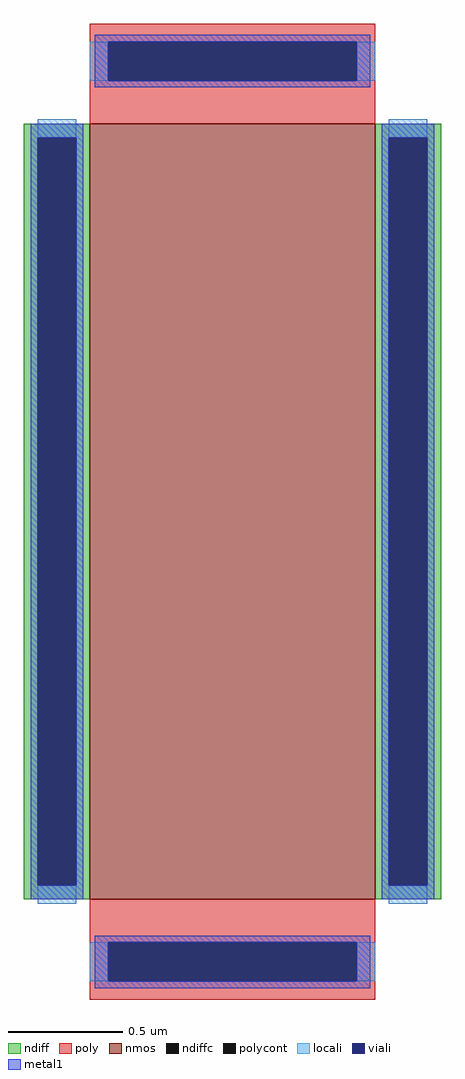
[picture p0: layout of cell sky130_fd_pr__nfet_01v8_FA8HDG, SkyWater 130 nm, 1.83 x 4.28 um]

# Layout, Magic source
magic
tech sky130A
magscale 1 2
<< nmos >>
rect -125 -340 125 340
<< ndiff >>
rect -183 328 -125 340
rect -183 -328 -171 328
rect -137 -328 -125 328
rect -183 -340 -125 -328
rect 125 328 183 340
rect 125 -328 137 328
rect 171 -328 183 328
rect 125 -340 183 -328
<< ndiffc >>
rect -171 -328 -137 328
rect 137 -328 171 328
<< poly >>
rect -125 412 125 428
rect -125 378 -109 412
rect 109 378 125 412
rect -125 340 125 378
rect -125 -378 125 -340
rect -125 -412 -109 -378
rect 109 -412 125 -378
rect -125 -428 125 -412
<< polycont >>
rect -109 378 109 412
rect -109 -412 109 -378
<< locali >>
rect -125 378 -109 412
rect 109 378 125 412
rect -171 328 -137 344
rect -171 -344 -137 -328
rect 137 328 171 344
rect 137 -344 171 -328
rect -125 -412 -109 -378
rect 109 -412 125 -378
<< viali >>
rect -109 378 109 412
rect -171 -328 -137 328
rect 137 -328 171 328
rect -109 -412 109 -378
<< metal1 >>
rect -121 412 121 418
rect -121 378 -109 412
rect 109 378 121 412
rect -121 372 121 378
rect -177 328 -131 340
rect -177 -328 -171 328
rect -137 -328 -131 328
rect -177 -340 -131 -328
rect 131 328 177 340
rect 131 -328 137 328
rect 171 -328 177 328
rect 131 -340 177 -328
rect -121 -378 121 -372
rect -121 -412 -109 -378
rect 109 -412 121 -378
rect -121 -418 121 -412
<< properties >>
string gencell sky130_fd_pr__nfet_01v8
string library sky130
string parameters w 3.4 l 1.25 m 1 nf 1 diffcov 100 polycov 100 guard 0 glc 1 grc 1 gtc 1 gbc 1 tbcov 100 rlcov 100 topc 1 botc 1 poverlap 0 doverlap 1 lmin 0.15 wmin 0.42 class mosfet compatible {sky130_fd_pr__nfet_01v8 sky130_fd_pr__nfet_01v8_lvt  sky130_fd_bs_flash__special_sonosfet_star  sky130_fd_pr__nfet_g5v0d10v5 sky130_fd_pr__nfet_05v0_nvt  sky130_fd_pr__nfet_03v3_nvt} full_metal 1 viasrc 100 viadrn 100 viagate 100 viagb 0 viagr 0 viagl 0 viagt 0
<< end >>
